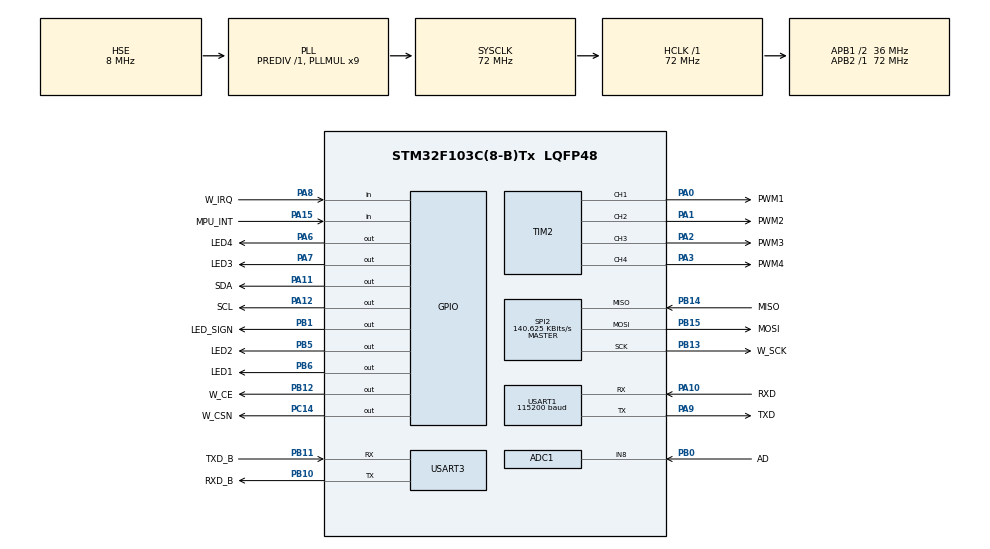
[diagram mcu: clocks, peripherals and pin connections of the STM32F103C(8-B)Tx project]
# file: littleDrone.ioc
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ADC1.Channel-59\#ChannelRegularConversion=ADC_CHANNEL_8
ADC1.ContinuousConvMode=DISABLE
ADC1.DataAlign=ADC_DATAALIGN_RIGHT
ADC1.DiscontinuousConvMode=DISABLE
ADC1.EnableAnalogWatchDog=false
ADC1.EnableRegularConversion=ENABLE
ADC1.ExternalTrigConv=ADC_SOFTWARE_START
ADC1.InjNumberOfConversion=0
ADC1.NbrOfConversion=1
ADC1.NbrOfConversionFlag=1
ADC1.Rank-59\#ChannelRegularConversion=1
ADC1.SamplingTime-59\#ChannelRegularConversion=ADC_SAMPLETIME_1CYCLE_5
ADC1.ScanConvMode=ADC_SCAN_DISABLE
ADC1.master=1
Mcu.Family=STM32F1
Mcu.Name=STM32F103C(8-B)Tx
Mcu.Package=LQFP48
NVIC.ADC1_2_IRQn=true\:0\:0\:false\:false\:true
NVIC.PVD_IRQn=true\:0\:0\:false\:false\:true
NVIC.PriorityGroup=NVIC_PRIORITYGROUP_4
NVIC.SPI2_IRQn=true\:0\:0\:false\:false\:true
NVIC.TIM2_IRQn=true\:0\:0\:false\:false\:true
NVIC.USART1_IRQn=true\:0\:0\:false\:false\:true
NVIC.USART3_IRQn=true\:0\:0\:false\:false\:true
PA0-WKUP.GPIO_Label=PWM1
PA0-WKUP.Signal=S_TIM2_CH1_ETR
PA1.GPIO_Label=PWM2
PA1.Signal=S_TIM2_CH2
PA10.GPIO_Label=RXD
PA10.Mode=Asynchronous
PA10.Signal=USART1_RX
PA11.GPIO_Label=SDA
PA11.GPIO_Speed=GPIO_SPEED_FREQ_HIGH
PA11.Signal=GPIO_Output
PA12.GPIO_Label=SCL
PA12.GPIO_Speed=GPIO_SPEED_FREQ_HIGH
PA12.Signal=GPIO_Output
PA13.Mode=Serial_Wire
PA13.Signal=SYS_JTMS-SWDIO
PA14.Mode=Serial_Wire
PA14.Signal=SYS_JTCK-SWCLK
PA15.GPIO_Label=MPU_INT
PA15.GPIO_PuPd=GPIO_PULLDOWN
PA15.Signal=GPIO_Input
PA2.GPIO_Label=PWM3
PA2.Signal=S_TIM2_CH3
PA3.GPIO_Label=PWM4
PA3.Signal=S_TIM2_CH4
PA6.GPIO_Label=LED4
PA6.GPIO_Speed=GPIO_SPEED_FREQ_LOW
PA6.PinState=GPIO_PIN_SET
PA6.Signal=GPIO_Output
PA7.GPIO_Label=LED3
PA7.PinState=GPIO_PIN_SET
PA7.Signal=GPIO_Output
PA8.GPIO_Label=W_IRQ
PA8.GPIO_PuPd=GPIO_PULLDOWN
PA8.Signal=GPIO_Input
PA9.GPIO_Label=TXD
PA9.Mode=Asynchronous
PA9.Signal=USART1_TX
PB0.GPIO_Label=AD
PB0.Signal=ADCx_IN8
PB1.GPIO_Label=LED_SIGN
PB1.GPIO_ModeDefaultOutputPP=GPIO_MODE_OUTPUT_PP
PB1.Signal=GPIO_Output
PB10.GPIO_Label=RXD_B
PB10.Mode=Asynchronous
PB10.Signal=USART3_TX
PB11.GPIO_Label=TXD_B
PB11.Mode=Asynchronous
PB11.Signal=USART3_RX
PB12.GPIO_Label=W_CE
PB12.GPIO_Speed=GPIO_SPEED_FREQ_HIGH
PB12.Signal=GPIO_Output
PB13.GPIO_Label=W_SCK
PB13.Mode=Full_Duplex_Master
PB13.Signal=SPI2_SCK
PB14.GPIO_Label=MISO
PB14.GPIO_PuPd=GPIO_PULLUP
PB14.Mode=Full_Duplex_Master
PB14.Signal=SPI2_MISO
PB15.GPIO_Label=MOSI
PB15.Mode=Full_Duplex_Master
PB15.Signal=SPI2_MOSI
PB5.GPIO_Label=LED2
PB5.PinState=GPIO_PIN_SET
PB5.Signal=GPIO_Output
PB6.GPIO_Label=LED1
PB6.PinState=GPIO_PIN_SET
PB6.Signal=GPIO_Output
PC14-OSC32_IN.GPIO_Label=W_CSN
PC14-OSC32_IN.Signal=GPIO_Output
PD0-OSC_IN.Mode=HSE-External-Oscillator
PD0-OSC_IN.Signal=RCC_OSC_IN
PD1-OSC_OUT.Mode=HSE-External-Oscillator
PD1-OSC_OUT.Signal=RCC_OSC_OUT
ProjectManager.HeapSize=0x200
ProjectManager.StackSize=0x400
ProjectManager.TargetToolchain=MDK-ARM V5
RCC.ADCPresc=RCC_ADCPCLK2_DIV6
RCC.AHBFreq_Value=72000000
RCC.APB1CLKDivider=RCC_HCLK_DIV2
RCC.APB1Freq_Value=36000000
RCC.APB1TimFreq_Value=72000000
RCC.APB2Freq_Value=72000000
RCC.APB2TimFreq_Value=72000000
RCC.HCLKFreq_Value=72000000
RCC.HSIState=RCC_HSI_ON
RCC.PLLMUL=RCC_PLL_MUL9
RCC.PLLSourceVirtual=RCC_PLLSOURCE_HSE
RCC.SYSCLKFreq_VALUE=72000000
RCC.SYSCLKSource=RCC_SYSCLKSOURCE_PLLCLK
RCC.USBFreq_Value=72000000
SH.ADCx_IN8.0=ADC1_IN8,IN8
SH.S_TIM2_CH1_ETR.0=TIM2_CH1,PWM Generation1 CH1
SH.S_TIM2_CH2.0=TIM2_CH2,PWM Generation2 CH2
SH.S_TIM2_CH3.0=TIM2_CH3,PWM Generation3 CH3
SH.S_TIM2_CH4.0=TIM2_CH4,PWM Generation4 CH4
SPI2.BaudRatePrescaler=SPI_BAUDRATEPRESCALER_256
SPI2.CalculateBaudRate=140.625 KBits/s
SPI2.Mode=SPI_MODE_MASTER
TIM2.Channel-PWM\ Generation2\ CH2=TIM_CHANNEL_2
TIM2.Channel-PWM\ Generation3\ CH3=TIM_CHANNEL_3
TIM2.Channel-PWM\ Generation4\ CH4=TIM_CHANNEL_4
USART1.BaudRate=115200
VP_TIM2_VS_ClockSourceINT.Mode=Internal
board=littleDrone

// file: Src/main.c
/**
  ******************************************************************************
  * File Name          : main.c
  * Description        : Main program body
  ******************************************************************************
  *
  * COPYRIGHT(c) 2016 STMicroelectronics
  *
  * Redistribution and use in source and binary forms, with or without modification,
  * are permitted provided that the following conditions are met:
  *   1. Redistributions of source code must retain the above copyright notice,
  *      this list of conditions and the following disclaimer.
  *   2. Redistributions in binary form must reproduce the above copyright notice,
  *      this list of conditions and the following disclaimer in the documentation
  *      and/or other materials provided with the distribution.
  *   3. Neither the name of STMicroelectronics nor the names of its contributors
  *      may be used to endorse or promote products derived from this software
  *      without specific prior written permission.
  *
  * THIS SOFTWARE IS PROVIDED BY THE COPYRIGHT HOLDERS AND CONTRIBUTORS "AS IS"
  * AND ANY EXPRESS OR IMPLIED WARRANTIES, INCLUDING, BUT NOT LIMITED TO, THE
  * IMPLIED WARRANTIES OF MERCHANTABILITY AND FITNESS FOR A PARTICULAR PURPOSE ARE
  * DISCLAIMED. IN NO EVENT SHALL THE COPYRIGHT HOLDER OR CONTRIBUTORS BE LIABLE
  * FOR ANY DIRECT, INDIRECT, INCIDENTAL, SPECIAL, EXEMPLARY, OR CONSEQUENTIAL
  * DAMAGES (INCLUDING, BUT NOT LIMITED TO, PROCUREMENT OF SUBSTITUTE GOODS OR
  * SERVICES; LOSS OF USE, DATA, OR PROFITS; OR BUSINESS INTERRUPTION) HOWEVER
  * CAUSED AND ON ANY THEORY OF LIABILITY, WHETHER IN CONTRACT, STRICT LIABILITY,
  * OR TORT (INCLUDING NEGLIGENCE OR OTHERWISE) ARISING IN ANY WAY OUT OF THE USE
  * OF THIS SOFTWARE, EVEN IF ADVISED OF THE POSSIBILITY OF SUCH DAMAGE.
  *
  ******************************************************************************
  */
#include "main.h"
#include "stm32f1xx_hal.h"
#include <stdio.h>
/* USER CODE BEGIN Includes */
#include "i2c.h"
#include "usart.h"
#include "delay.h"
#include "sys.h"
#include "i2c.h"/* USER CODE END Includes */
#include "mpu6050.h"
#include "fc_tasks.h"
#include "scheduler.h"
#include "hmc5883l.h"
#include "ms5611.h"
#include "HAL.h"
#include "stmflash.h"
#include "nrf24l01.h"
#include "filter.h"
#include "stm32f103xb.h"

ADC_HandleTypeDef hadc1;

SPI_HandleTypeDef hspi2;

TIM_HandleTypeDef htim2;

UART_HandleTypeDef huart1;
UART_HandleTypeDef huart3;

/* USER CODE BEGIN PV */
/* Private variables ---------------------------------------------------------*/

/* USER CODE END PV */

void SystemClock_Config(void);
void Error_Handler(void);
static void MX_GPIO_Init(void);
static void MX_ADC1_Init(void);
static void MX_TIM2_Init(void);
static void MX_USART1_UART_Init(void);
static void MX_USART3_UART_Init(void);
static void MX_SPI2_Init(void);

void HAL_TIM_MspPostInit(TIM_HandleTypeDef *htim);

/* USER CODE BEGIN PFP */
/* Private function prototypes -----------------------------------------------*/

/* USER CODE END PFP */

#define MAG_ADDRESS 0x1E

/* USER CODE BEGIN 0 */

char id;
void init(void)
{
	IIC_Init();//IIC初始化
	detectGyro();//陀螺仪检测
	detectAcc();//加速度计检测
	//detectMag();

	gyro.init();//陀螺仪初始化
	acc.init();//加速度计初始化
	//mag.init();
	//MS5611_Init();
	//WaitBaroInitOffset();

	EE_READ_PID();//从flash读取PID配置
	EE_READ_ACC_OFFSET();//从flash读取加速度计偏移值
	EE_READ_GYRO_OFFSET();//从flash读取陀螺仪偏移值
	EE_READ_MAG_OFFSET();//从flash读取陀螺仪偏移值
	EE_READ_RC_ADDR_AND_MATCHED();//读取遥控器校准状态

	motor_init();//电机初始化
	rc_init();//遥控器初始化

	while(NRF24L01_Check()){//nrf自检
		SendChar("nrf ing\r\n");
		delay_ms(500);
	}
	SendChar("nrf ok\r\n");
	NRF24L01_RX_Mode();//nrf进入接受模式

	//低通滤波器设置
	LPF2pSetCutoffFreq_1(IMU_SAMPLE_RATE,IMU_FILTER_CUTOFF_FREQ);		//30Hz
	LPF2pSetCutoffFreq_2(IMU_SAMPLE_RATE,IMU_FILTER_CUTOFF_FREQ);
	LPF2pSetCutoffFreq_3(IMU_SAMPLE_RATE,IMU_FILTER_CUTOFF_FREQ);
	LPF2pSetCutoffFreq_4(IMU_SAMPLE_RATE,IMU_FILTER_CUTOFF_FREQ);
	LPF2pSetCutoffFreq_5(IMU_SAMPLE_RATE,IMU_FILTER_CUTOFF_FREQ);
	LPF2pSetCutoffFreq_6(IMU_SAMPLE_RATE,IMU_FILTER_CUTOFF_FREQ);

	//PWM通道打开
	HAL_TIM_PWM_Start(&htim2,TIM_CHANNEL_1);
	HAL_TIM_PWM_Start(&htim2,TIM_CHANNEL_2);
	HAL_TIM_PWM_Start(&htim2,TIM_CHANNEL_3);
	HAL_TIM_PWM_Start(&htim2,TIM_CHANNEL_4);

}

/* USER CODE END 0 */

int main(void)
{

  /* USER CODE BEGIN 1 */
//	uart_init(72,115200);
	delay_init();//延时函数初始化
  /* USER CODE END 1 */

  /* MCU Configuration----------------------------------------------------------*/

  /* Reset of all peripherals, Initializes the Flash interface and the Systick. */
	HAL_Init();

  /* Configure the system clock */
	SystemClock_Config();

  /* Initialize all configured peripherals */
	MX_GPIO_Init();
	MX_USART1_UART_Init();//这个初始化一定要放在	MX_GPIO_Init()后面
	MX_USART3_UART_Init();
	USART1->CR1|=1<<8;    //PE中断使能
	USART1->CR1|=1<<5;    //接收缓冲区非空中断使能
	MY_NVIC_Init(3,2,USART1_IRQn,2);//组2，最低优先级
	USART3->CR1|=1<<8;    //PE中断使能
	USART3->CR1|=1<<5;    //接收缓冲区非空中断使能
	MY_NVIC_Init(3,3,USART3_IRQn,2);//组2，最低优先级

	MX_ADC1_Init();
	MX_TIM2_Init();
	MX_SPI2_Init();

  /* USER CODE BEGIN 2 */
	init();
	configureScheduler();
	HAL_ADC_Start(&hadc1);

  /* USER CODE END 2 */

  /* Infinite loop */
  /* USER CODE BEGIN WHILE */
	while (1) {
		//调度器开始调度。
		//调度配置在fc_tasks.c和fc_tasks.h
		//每个任务函数的实现在schedule_task
		scheduler();

	}

}

/** System Clock Configuration
*/
void SystemClock_Config(void)
{

  RCC_OscInitTypeDef RCC_OscInitStruct;
  RCC_ClkInitTypeDef RCC_ClkInitStruct;
  RCC_PeriphCLKInitTypeDef PeriphClkInit;

    /**Initializes the CPU, AHB and APB busses clocks
    */
  RCC_OscInitStruct.OscillatorType = RCC_OSCILLATORTYPE_HSE;
  RCC_OscInitStruct.HSEState = RCC_HSE_ON;
  RCC_OscInitStruct.HSEPredivValue = RCC_HSE_PREDIV_DIV1;
  RCC_OscInitStruct.HSIState = RCC_HSI_ON;
  RCC_OscInitStruct.PLL.PLLState = RCC_PLL_ON;
  RCC_OscInitStruct.PLL.PLLSource = RCC_PLLSOURCE_HSE;
  RCC_OscInitStruct.PLL.PLLMUL = RCC_PLL_MUL9;
  if (HAL_RCC_OscConfig(&RCC_OscInitStruct) != HAL_OK)
  {
    Error_Handler();
  }

    /**Initializes the CPU, AHB and APB busses clocks
    */
  RCC_ClkInitStruct.ClockType = RCC_CLOCKTYPE_HCLK|RCC_CLOCKTYPE_SYSCLK
                              |RCC_CLOCKTYPE_PCLK1|RCC_CLOCKTYPE_PCLK2;
  RCC_ClkInitStruct.SYSCLKSource = RCC_SYSCLKSOURCE_PLLCLK;
  RCC_ClkInitStruct.AHBCLKDivider = RCC_SYSCLK_DIV1;
  RCC_ClkInitStruct.APB1CLKDivider = RCC_HCLK_DIV2;
  RCC_ClkInitStruct.APB2CLKDivider = RCC_HCLK_DIV1;

  if (HAL_RCC_ClockConfig(&RCC_ClkInitStruct, FLASH_LATENCY_2) != HAL_OK)
  {
    Error_Handler();
  }

  PeriphClkInit.PeriphClockSelection = RCC_PERIPHCLK_ADC;
  PeriphClkInit.AdcClockSelection = RCC_ADCPCLK2_DIV6;
  if (HAL_RCCEx_PeriphCLKConfig(&PeriphClkInit) != HAL_OK)
  {
    Error_Handler();
  }

    /**Configure the Systick interrupt time
    */
  HAL_SYSTICK_Config(HAL_RCC_GetHCLKFreq()/1000);

    /**Configure the Systick
    */
  HAL_SYSTICK_CLKSourceConfig(SYSTICK_CLKSOURCE_HCLK);

  /* SysTick_IRQn interrupt configuration */
  HAL_NVIC_SetPriority(SysTick_IRQn, 0, 0);
}

/* ADC1 init function */
static void MX_ADC1_Init(void)
{

  ADC_ChannelConfTypeDef sConfig;

    /**Common config
    */
  hadc1.Instance = ADC1;
  hadc1.Init.ScanConvMode = ADC_SCAN_DISABLE;
  hadc1.Init.ContinuousConvMode = ENABLE;
  hadc1.Init.DiscontinuousConvMode = DISABLE;
  hadc1.Init.ExternalTrigConv = ADC_SOFTWARE_START;
  hadc1.Init.DataAlign = ADC_DATAALIGN_RIGHT;
  hadc1.Init.NbrOfConversion = 1;
  if (HAL_ADC_Init(&hadc1) != HAL_OK)
  {
    Error_Handler();
  }

    /**Configure Regular Channel
    */
  sConfig.Channel = ADC_CHANNEL_8;
  sConfig.Rank = 1;
  sConfig.SamplingTime = ADC_SAMPLETIME_239CYCLES_5;
  if (HAL_ADC_ConfigChannel(&hadc1, &sConfig) != HAL_OK)
  {
    Error_Handler();
  }

}

/* SPI2 init function */
static void MX_SPI2_Init(void)
{

  hspi2.Instance = SPI2;
  hspi2.Init.Mode = SPI_MODE_MASTER;
  hspi2.Init.Direction = SPI_DIRECTION_2LINES;
  hspi2.Init.DataSize = SPI_DATASIZE_8BIT;
  hspi2.Init.CLKPolarity = SPI_POLARITY_LOW;
  hspi2.Init.CLKPhase = SPI_PHASE_1EDGE;
  hspi2.Init.NSS = SPI_NSS_SOFT;
  hspi2.Init.BaudRatePrescaler = SPI_BAUDRATEPRESCALER_8;
  hspi2.Init.FirstBit = SPI_FIRSTBIT_MSB;
  hspi2.Init.TIMode = SPI_TIMODE_DISABLE;
  hspi2.Init.CRCCalculation = SPI_CRCCALCULATION_DISABLE;
  hspi2.Init.CRCPolynomial = 7;
  if (HAL_SPI_Init(&hspi2) != HAL_OK)
  {
    Error_Handler();
  }

}

/* TIM2 init function */
static void MX_TIM2_Init(void)
{

  TIM_ClockConfigTypeDef sClockSourceConfig;
  TIM_MasterConfigTypeDef sMasterConfig;
  TIM_OC_InitTypeDef sConfigOC;

  htim2.Instance = TIM2;
  htim2.Init.Prescaler = 2;
  htim2.Init.CounterMode = TIM_COUNTERMODE_UP;
  htim2.Init.Period = 1000;
  htim2.Init.ClockDivision = TIM_CLOCKDIVISION_DIV1;
  if (HAL_TIM_Base_Init(&htim2) != HAL_OK)
  {
    Error_Handler();
  }

  sClockSourceConfig.ClockSource = TIM_CLOCKSOURCE_INTERNAL;
  if (HAL_TIM_ConfigClockSource(&htim2, &sClockSourceConfig) != HAL_OK)
  {
    Error_Handler();
  }

  if (HAL_TIM_PWM_Init(&htim2) != HAL_OK)
  {
    Error_Handler();
  }

  sMasterConfig.MasterOutputTrigger = TIM_TRGO_RESET;
  sMasterConfig.MasterSlaveMode = TIM_MASTERSLAVEMODE_DISABLE;
  if (HAL_TIMEx_MasterConfigSynchronization(&htim2, &sMasterConfig) != HAL_OK)
  {
    Error_Handler();
  }

  sConfigOC.OCMode = TIM_OCMODE_PWM1;
  sConfigOC.Pulse = 0;
  sConfigOC.OCPolarity = TIM_OCPOLARITY_HIGH;
  sConfigOC.OCFastMode = TIM_OCFAST_DISABLE;
  if (HAL_TIM_PWM_ConfigChannel(&htim2, &sConfigOC, TIM_CHANNEL_1) != HAL_OK)
  {
    Error_Handler();
  }

  if (HAL_TIM_PWM_ConfigChannel(&htim2, &sConfigOC, TIM_CHANNEL_2) != HAL_OK)
  {
    Error_Handler();
  }

  if (HAL_TIM_PWM_ConfigChannel(&htim2, &sConfigOC, TIM_CHANNEL_3) != HAL_OK)
  {
    Error_Handler();
  }

  if (HAL_TIM_PWM_ConfigChannel(&htim2, &sConfigOC, TIM_CHANNEL_4) != HAL_OK)
  {
    Error_Handler();
  }

  HAL_TIM_MspPostInit(&htim2);

}

/* USART1 init function */
static void MX_USART1_UART_Init(void)
{

  huart1.Instance = USART1;
  huart1.Init.BaudRate = 115200;
  huart1.Init.WordLength = UART_WORDLENGTH_8B;
  huart1.Init.StopBits = UART_STOPBITS_1;
  huart1.Init.Parity = UART_PARITY_NONE;
  huart1.Init.Mode = UART_MODE_TX_RX;
  huart1.Init.HwFlowCtl = UART_HWCONTROL_NONE;
  huart1.Init.OverSampling = UART_OVERSAMPLING_16;
  if (HAL_UART_Init(&huart1) != HAL_OK)
  {
    Error_Handler();
  }

}

/* USART3 init function */
static void MX_USART3_UART_Init(void)
{

  huart3.Instance = USART3;
  huart3.Init.BaudRate = 38400;
  huart3.Init.WordLength = UART_WORDLENGTH_8B;
  huart3.Init.StopBits = UART_STOPBITS_1;
  huart3.Init.Parity = UART_PARITY_NONE;
  huart3.Init.Mode = UART_MODE_TX_RX;
  huart3.Init.HwFlowCtl = UART_HWCONTROL_NONE;
  huart3.Init.OverSampling = UART_OVERSAMPLING_16;
  if (HAL_UART_Init(&huart3) != HAL_OK)
  {
    Error_Handler();
  }

}

/** Configure pins as
        * Analog
        * Input
        * Output
        * EVENT_OUT
        * EXTI
*/
static void MX_GPIO_Init(void)
{

  GPIO_InitTypeDef GPIO_InitStruct;

  /* GPIO Ports Clock Enable */
  __HAL_RCC_GPIOD_CLK_ENABLE();
  __HAL_RCC_GPIOA_CLK_ENABLE();
  __HAL_RCC_GPIOB_CLK_ENABLE();
  __HAL_RCC_GPIOC_CLK_ENABLE();

  /*Configure GPIO pin Output Level */
  HAL_GPIO_WritePin(GPIOA, LED4_Pin|LED3_Pin, GPIO_PIN_SET);

  /*Configure GPIO pin Output Level */
  HAL_GPIO_WritePin(GPIOB, LED_SIGN_Pin|W_CE_Pin, GPIO_PIN_RESET);

  /*Configure GPIO pin Output Level */
  HAL_GPIO_WritePin(GPIOA, SDA_Pin|SCL_Pin, GPIO_PIN_RESET);

  /*Configure GPIO pin Output Level */
  HAL_GPIO_WritePin(GPIOB, LED2_Pin|LED1_Pin, GPIO_PIN_SET);

  /*Configure GPIO pins : LED4_Pin LED3_Pin */
  GPIO_InitStruct.Pin = W_CSN_Pin;
  GPIO_InitStruct.Mode = GPIO_MODE_OUTPUT_PP;
  GPIO_InitStruct.Speed = GPIO_SPEED_FREQ_HIGH;
  HAL_GPIO_Init(W_CSN_GPIO_Port, &GPIO_InitStruct);

  /*Configure GPIO pins : LED4_Pin LED3_Pin */
  GPIO_InitStruct.Pin = LED4_Pin|LED3_Pin;
  GPIO_InitStruct.Mode = GPIO_MODE_OUTPUT_PP;
  GPIO_InitStruct.Speed = GPIO_SPEED_FREQ_LOW;
  HAL_GPIO_Init(GPIOA, &GPIO_InitStruct);

  /*Configure GPIO pins : LED_SIGN_Pin LED2_Pin LED1_Pin */
  GPIO_InitStruct.Pin = LED_SIGN_Pin|LED2_Pin|LED1_Pin;
  GPIO_InitStruct.Mode = GPIO_MODE_OUTPUT_PP;
  GPIO_InitStruct.Speed = GPIO_SPEED_FREQ_LOW;
  HAL_GPIO_Init(GPIOB, &GPIO_InitStruct);

  /*Configure GPIO pin : W_CE_Pin */
  GPIO_InitStruct.Pin = W_CE_Pin;
  GPIO_InitStruct.Mode = GPIO_MODE_OUTPUT_PP;
  GPIO_InitStruct.Speed = GPIO_SPEED_FREQ_HIGH;
  HAL_GPIO_Init(W_CE_GPIO_Port, &GPIO_InitStruct);

  /*Configure GPIO pins : W_IRQ_Pin MPU_INT_Pin */
  GPIO_InitStruct.Pin = W_IRQ_Pin|MPU_INT_Pin;
  GPIO_InitStruct.Mode = GPIO_MODE_INPUT;
  GPIO_InitStruct.Pull = GPIO_PULLDOWN;
  HAL_GPIO_Init(GPIOA, &GPIO_InitStruct);

  /*Configure GPIO pins : SDA_Pin SCL_Pin */
  GPIO_InitStruct.Pin = SDA_Pin|SCL_Pin;
  GPIO_InitStruct.Mode = GPIO_MODE_OUTPUT_PP;
  GPIO_InitStruct.Speed = GPIO_SPEED_FREQ_HIGH;
  HAL_GPIO_Init(GPIOA, &GPIO_InitStruct);

}

void Error_Handler(void)
{
  while(1)
  {
  }
}

/************************ (C) COPYRIGHT STMicroelectronics *****END OF FILE****/
